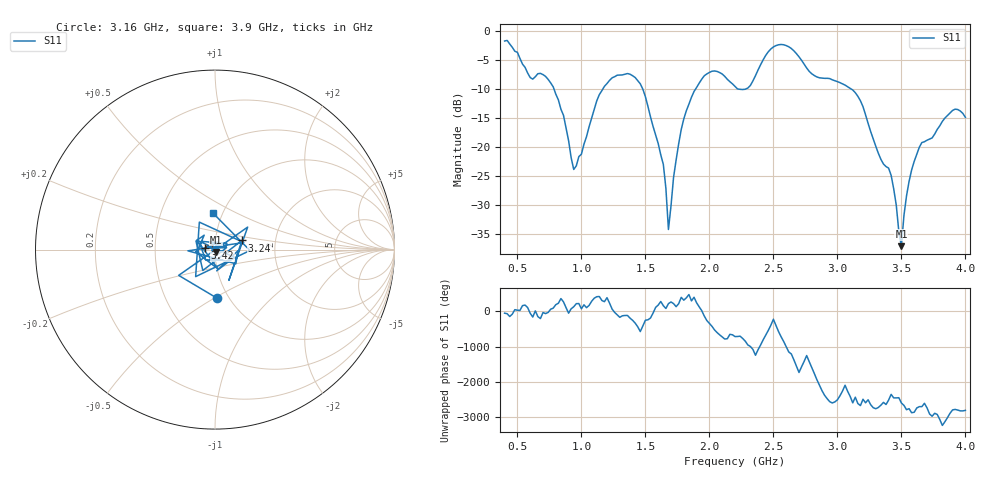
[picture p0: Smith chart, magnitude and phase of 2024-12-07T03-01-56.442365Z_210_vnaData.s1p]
!Created with skrf (http://scikit-rf.org).
# Hz S RI R 50.0
!freq ReS11 ImS11
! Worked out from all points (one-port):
!   181 points, 400 MHz to 4 GHz, reference 50 ohm
!   lowest |S11| = -37.2 dB at 3.5 GHz (marker M1), VSWR 1.03, Z = 50.5 - j1.31 ohm
!   |S11| at or under -10 dB: 784.6 MHz to 1.169 GHz (384.9 MHz wide, 39.4 % of centre); 1.478 GHz to 1.894 GHz (416.6 MHz wide, 24.7 % of centre); 3.102 GHz to end of sweep (the widest 3 of 4)
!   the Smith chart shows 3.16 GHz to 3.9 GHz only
!   S11 on the Smith chart (normalised r, x): 3.16 GHz: 0.88, -0.52; 3.24 GHz: 1.34, +0.14; 3.42 GHz: 0.89, +0.01; 3.9 GHz: 0.90, +0.38
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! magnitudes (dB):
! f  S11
! 400 MHz  -1.8
! 600 MHz  -8.1
! 740 MHz  -8.4
! 860 MHz  -14.6
! 940 MHz  -23.9
! 1.14 GHz  -11.0
! 1.3 GHz  -7.7
! 1.42 GHz  -8.1
! 1.5 GHz  -11.4
! 1.64 GHz  -23.1
! 1.68 GHz  -34.3
! 1.76 GHz  -19.5
! 1.82 GHz  -13.8
! 1.96 GHz  -7.8
! 2.2 GHz  -9.6
! 2.32 GHz  -9.5
! 2.5 GHz  -2.8
! 2.66 GHz  -3.5
! 2.82 GHz  -7.8
! 3.1 GHz  -10.0
! 3.16 GHz  -11.3
! 3.24 GHz  -16.0
! 3.42 GHz  -25.0
! 3.5 GHz  -37.2
! 3.56 GHz  -26.0
! 3.66 GHz  -19.3
! 3.9 GHz  -13.8
! 4 GHz  -15.0
